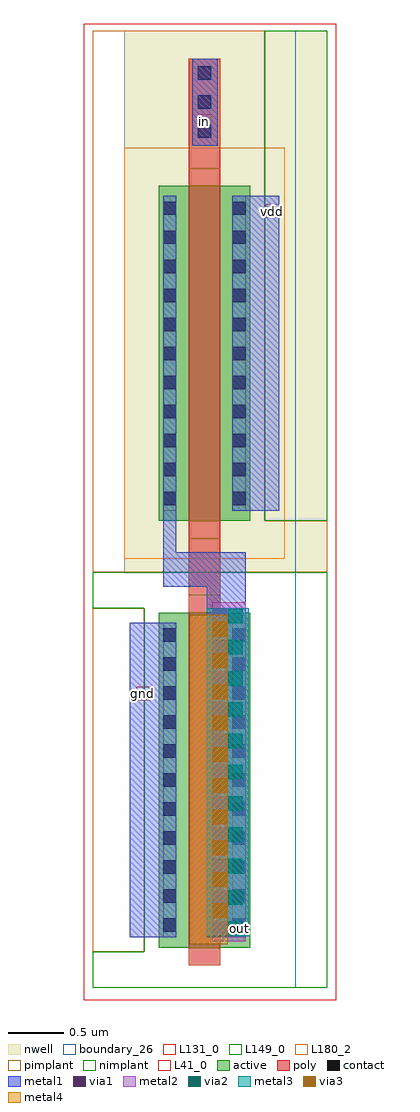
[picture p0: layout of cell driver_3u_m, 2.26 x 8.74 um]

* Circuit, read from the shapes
.subckt driver_3u_m gnd in out vdd
M1 out in gnd VSUBS nfet w=3u l=0.28u
M2 vdd in out n1 pfet w=3u l=0.28u
.ends

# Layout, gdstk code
from math import pi, radians
import gdstk
lib = gdstk.Library(unit=1e-6, precision=1e-09)
def R(c, l, rs):  # rectangles x0, y0, x1, y1
    for r in rs: c.add(gdstk.rectangle(r[:2], r[2:], *l))
def A(c, l, x, y, w, h, nx, ny, dx, dy):  # array of equal rectangles
    R(c, l, [(x+i*dx, y+j*dy, x+i*dx+w, y+j*dy+h) for i in range(nx) for j in range(ny)])
nwell = (3, 0)
active = (6, 0)
poly = (17, 0)
pimplant = (25, 0)
nimplant = (26, 0)
contact = (30, 0)
metal1 = (31, 0)
metal2 = (32, 0)
metal3 = (33, 0)
metal4 = (34, 0)
L41_0 = (41, 0)
via1 = (51, 0)
via2 = (52, 0)
via3 = (53, 0)
boundary_26 = (108, 26)
L131_0 = (131, 0)
L149_0 = (149, 0)
L180_2 = (180, 2)

pc_ct = lib.new_cell('pc_ct')
R(pc_ct, contact, [(0,0,0.12,0.12)])

nsvt25_cdns_578001135890 = lib.new_cell('nsvt25_CDNS_578001135890')
R(nsvt25_cdns_578001135890, active, [(-0.27,0,0,3), (-0.27,0,0.55,3), (0.28,0,0.55,3)])
R(nsvt25_cdns_578001135890, poly, [(0,-0.16,0.28,3.16)])
R(nsvt25_cdns_578001135890, nimplant, [(-0.4,-0.36,0.68,3.36)])
R(nsvt25_cdns_578001135890, metal1, [(-0.23,0.09,-0.11,2.91), (0.39,0.09,0.51,2.91)])
R(nsvt25_cdns_578001135890, L41_0, [(-0.54,-0.34,0.82,3.34)])
R(nsvt25_cdns_578001135890, L131_0, [(-0.23,0.09,-0.11,2.91), (0.39,0.09,0.51,2.91)])
R(nsvt25_cdns_578001135890, L149_0, [(0,-0.16,0.28,0), (0,3,0.28,3.16)])
r = gdstk.Reference(pc_ct, (0.39,0.14)); r.repetition = gdstk.Repetition(1, 11, v1=(0.26,0), v2=(0,0.26)); nsvt25_cdns_578001135890.add(r)
r = gdstk.Reference(pc_ct, (-0.23,0.14)); r.repetition = gdstk.Repetition(1, 11, v1=(0.26,0), v2=(0,0.26)); nsvt25_cdns_578001135890.add(r)
nsvt25_cdns_578001135890.add(gdstk.Label('d', (0.28,0), layer=6, texttype=0))
nsvt25_cdns_578001135890.add(gdstk.Label('s', (0,0), layer=6, texttype=0))
nsvt25_cdns_578001135890.add(gdstk.Label('d', (0.415,1.5), layer=127, texttype=0))
nsvt25_cdns_578001135890.add(gdstk.Label('s', (-0.135,1.5), layer=127, texttype=0))
nsvt25_cdns_578001135890.add(gdstk.Label('d', (0.45,1.5), layer=131, texttype=0))
nsvt25_cdns_578001135890.add(gdstk.Label('s', (-0.17,1.5), layer=131, texttype=0))
nsvt25_cdns_578001135890.add(gdstk.Label('g', (0.14,3.08), layer=149, texttype=0))
nsvt25_cdns_578001135890.add(gdstk.Label('g', (0.14,-0.08), layer=149, texttype=0))

psvt25_cdns_578001135891 = lib.new_cell('psvt25_CDNS_578001135891')
R(psvt25_cdns_578001135891, active, [(-0.27,0,0,3), (-0.27,0,0.55,3), (0.28,0,0.55,3)])
R(psvt25_cdns_578001135891, poly, [(0,-0.16,0.28,3.16)])
R(psvt25_cdns_578001135891, pimplant, [(-0.4,-0.36,0.68,3.36)])
R(psvt25_cdns_578001135891, metal1, [(-0.23,0.09,-0.11,2.91), (0.39,0.09,0.51,2.91)])
R(psvt25_cdns_578001135891, L41_0, [(-0.58,-0.34,0.86,3.34)])
R(psvt25_cdns_578001135891, L131_0, [(-0.23,0.09,-0.11,2.91), (0.39,0.09,0.51,2.91)])
R(psvt25_cdns_578001135891, L149_0, [(0,-0.16,0.28,0), (0,3,0.28,3.16)])
R(psvt25_cdns_578001135891, L180_2, [(-0.58,-0.34,0.86,3.34)])
r = gdstk.Reference(pc_ct, (0.39,0.14)); r.repetition = gdstk.Repetition(1, 11, v1=(0.26,0), v2=(0,0.26)); psvt25_cdns_578001135891.add(r)
r = gdstk.Reference(pc_ct, (-0.23,0.14)); r.repetition = gdstk.Repetition(1, 11, v1=(0.26,0), v2=(0,0.26)); psvt25_cdns_578001135891.add(r)
psvt25_cdns_578001135891.add(gdstk.Label('d', (0.28,0), layer=6, texttype=0))
psvt25_cdns_578001135891.add(gdstk.Label('s', (0,0), layer=6, texttype=0))
psvt25_cdns_578001135891.add(gdstk.Label('d', (0.415,1.5), layer=127, texttype=0))
psvt25_cdns_578001135891.add(gdstk.Label('s', (-0.135,1.5), layer=127, texttype=0))
psvt25_cdns_578001135891.add(gdstk.Label('d', (0.45,1.5), layer=131, texttype=0))
psvt25_cdns_578001135891.add(gdstk.Label('s', (-0.17,1.5), layer=131, texttype=0))
psvt25_cdns_578001135891.add(gdstk.Label('g', (0.14,3.08), layer=149, texttype=0))
psvt25_cdns_578001135891.add(gdstk.Label('g', (0.14,-0.08), layer=149, texttype=0))
psvt25_cdns_578001135891.add(gdstk.Label('b', (0.14,1.5), layer=180, texttype=2))

m1__po_cdns_578001135890 = lib.new_cell('M1__PO_CDNS_578001135890')
R(m1__po_cdns_578001135890, poly, [(-0.08,-0.37,0.08,0.37)])
A(m1__po_cdns_578001135890, contact, -0.06, -0.32, 0.12, 0.12, 1, 3, 0, 0.26)
R(m1__po_cdns_578001135890, metal1, [(-0.06,-0.37,0.06,0.37)])

m2_m1_s_cdns_57800113589 = lib.new_cell('M2_M1_S_CDNS_578001135891')
R(m2_m1_s_cdns_57800113589, metal1, [(-1.47,-0.115,1.47,0.115)])
R(m2_m1_s_cdns_57800113589, metal2, [(-1.515,-0.07,1.515,0.07)])
A(m2_m1_s_cdns_57800113589, via1, -1.465, -0.065, 0.13, 0.13, 11, 1, 0.28, 0)

m4_m3_s_cdns_57800113589 = lib.new_cell('M4_M3_S_CDNS_578001135892')
R(m4_m3_s_cdns_57800113589, metal3, [(-1.33,-0.115,1.33,0.115)])
R(m4_m3_s_cdns_57800113589, metal4, [(-1.375,-0.07,1.375,0.07)])
A(m4_m3_s_cdns_57800113589, via3, -1.325, -0.065, 0.13, 0.13, 10, 1, 0.28, 0)

m3_m2_s_cdns_57800113589 = lib.new_cell('M3_M2_S_CDNS_578001135893')
R(m3_m2_s_cdns_57800113589, metal2, [(-1.515,-0.07,1.515,0.07)])
R(m3_m2_s_cdns_57800113589, metal3, [(-1.47,-0.115,1.47,0.115)])
A(m3_m2_s_cdns_57800113589, via2, -1.465, -0.065, 0.13, 0.13, 11, 1, 0.28, 0)

driver_3u_m = lib.new_cell('driver_3u_m')
R(driver_3u_m, nwell, [(0.28,3.72,2,8.57), (0.28,3.72,2.1,8.57)])
R(driver_3u_m, pimplant, [(0,0.32,0.46,3.4), (0,3.72,0.46,8.57), (0.46,3.72,1.54,3.82), (1.54,3.72,2.1,4.18), (0.46,7.54,1.54,8.57)])
R(driver_3u_m, nimplant, [(0,0,0.46,0.32), (1.54,0,2.1,3.72), (0,3.4,0.46,3.72), (1.54,4.18,2.1,8.57)])
R(driver_3u_m, metal1, [(0.33,0.45,0.63,3.27), (1.02,0.45,1.25,3.59), (0.75,3.71,1.37,3.9), (1.37,4.27,1.67,7.09), (0.89,7.54,1.12,8.32)])
R(driver_3u_m, metal2, [(1.07,0.415,1.37,3.45)])
R(driver_3u_m, metal3, [(1.02,0.46,1.395,3.4)])
R(driver_3u_m, metal4, [(0.87,0.39,0.9,3.34), (0.9,0.39,1.21,0.575), (0.9,0.575,1.21,3.34)])
R(driver_3u_m, L41_0, [(-0.08,-0.11,2.18,8.63)])
R(driver_3u_m, boundary_26, [(0,0,1.82,8.57)])
R(driver_3u_m, L131_0, [(1.25,0.47,1.37,0.59), (0.39,2.574,0.51,2.694), (1.548,6.894,1.668,7.014), (0.94,7.7,1.06,7.82)])
driver_3u_m.add(gdstk.FlexPath([(1,3.49),(1,4.02)], 0.28, ends="flush", simple_path=True, layer=17, datatype=0))  # poly
driver_3u_m.add(gdstk.FlexPath([(1,7.31),(1,8.32)], 0.28, ends="flush", simple_path=True, layer=17, datatype=0))  # poly
driver_3u_m.add(gdstk.FlexPath([(1.31,3.65),(1.31,3.27)], 0.12, ends=(0.06, 0), simple_path=True, layer=31, datatype=0))  # metal1
driver_3u_m.add(gdstk.FlexPath([(0.69,4.27),(0.69,3.65)], 0.12, ends=(0, 0.06), simple_path=True, layer=31, datatype=0))  # metal1
driver_3u_m.add(gdstk.FlexPath([(0.69,3.65),(1.31,3.65)], 0.12, ends="extended", simple_path=True, layer=31, datatype=0))  # metal1
driver_3u_m.add(gdstk.Reference(nsvt25_cdns_578001135890, (0.86,3.36), x_reflection=True))
driver_3u_m.add(gdstk.Reference(psvt25_cdns_578001135891, (1.14,4.18), rotation=pi, x_reflection=True))
driver_3u_m.add(gdstk.Reference(m1__po_cdns_578001135890, (1,7.93), rotation=pi, x_reflection=True))
driver_3u_m.add(gdstk.Reference(m2_m1_s_cdns_57800113589, (1.14,1.93), rotation=pi/2, x_reflection=True))
driver_3u_m.add(gdstk.Reference(m4_m3_s_cdns_57800113589, (1.14,1.95), rotation=3*pi/2, x_reflection=True))
driver_3u_m.add(gdstk.Reference(m3_m2_s_cdns_57800113589, (1.28,1.93), rotation=pi/2, x_reflection=True))
driver_3u_m.add(gdstk.Label('gnd', (0.45,2.634), layer=131, texttype=0))
driver_3u_m.add(gdstk.Label('vdd', (1.608,6.954), layer=131, texttype=0))
driver_3u_m.add(gdstk.Label('out', (1.31,0.53), layer=131, texttype=0))
driver_3u_m.add(gdstk.Label('in', (1,7.76), layer=131, texttype=0))

lib.write_gds('driver_3u_m.gds')
